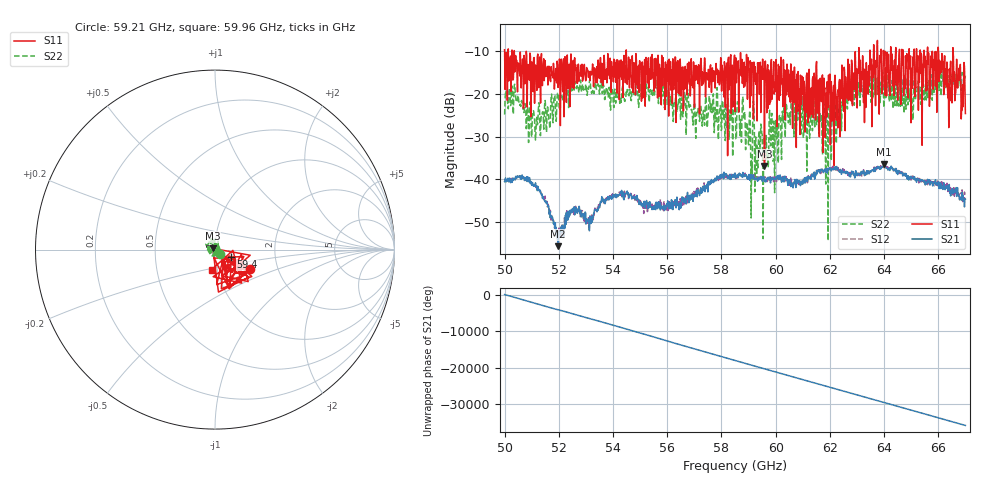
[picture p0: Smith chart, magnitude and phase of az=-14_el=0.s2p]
!Created with skrf (http://scikit-rf.org).
# GHz S RI R 50.0
!freq ReS11 ImS11 ReS21 ImS21 ReS12 ImS12 ReS22 ImS22
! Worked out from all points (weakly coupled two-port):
!   1001 points, 50 GHz to 67 GHz, reference 50 ohm
!   highest |S21| = -36.50 dB at 63.99 GHz (marker M1); lowest = -55.7 dB at 51.97 GHz (marker M2)
!   lowest |S11| = -36.9 dB at 59.59 GHz (marker M3), VSWR 1.03, Z = 48.7 + j0.625 ohm
!   |S11| at or under -10 dB: 50.8 GHz to 54.49 GHz (3.687 GHz wide, 7 % of centre); 54.49 GHz to 63.07 GHz (8.581 GHz wide, 14.6 % of centre); 66.01 GHz to 66.54 GHz (530.9 MHz wide, 0.801 % of centre) (the widest 3 of 27)
!   |S22| runs from -54.5 to -13.8 dB; largest |S21 - S12| = 0.0025
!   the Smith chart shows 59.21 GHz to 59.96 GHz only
!   S11 on the Smith chart (normalised r, x): 59.21 GHz: 1.44, -0.32; 59.4 GHz: 1.19, -0.10; 59.96 GHz: 0.94, -0.21
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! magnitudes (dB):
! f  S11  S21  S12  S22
! 50 GHz  -9.6  -40.6  -40.3  -24.8
! 50.42 GHz  -13.3  -39.5  -39.9  -21.6
! 51.22 GHz  -10.6  -41.7  -42.5  -26.9
! 51.97 GHz  -18.5  -55.7  -55.2  -19.7
! 52.84 GHz  -13.8  -48.9  -47.8  -19.5
! 54.28 GHz  -15.9  -43.0  -43.8  -20.9
! 55.68 GHz  -13.5  -45.3  -46.0  -22.3
! 58.5 GHz  -24.1  -38.6  -39.5  -23.8
! 59.21 GHz  -13.1  -39.8  -39.5  -28.6
! 59.4 GHz  -20.1  -40.1  -39.5  -28.6
! 59.59 GHz  -36.9  -40.0  -39.8  -29.8
! 59.84 GHz  -11.9  -40.2  -39.9  -25.4
! 59.96 GHz  -19.0  -40.0  -39.4  -43.2
! 60.64 GHz  -14.7  -42.0  -41.0  -22.3
! 61.34 GHz  -24.8  -38.8  -39.3  -25.8
! 61.88 GHz  -25.4  -38.2  -37.8  -23.0
! 62.55 GHz  -14.9  -38.2  -38.2  -19.2
! 63.12 GHz  -12.1  -38.6  -38.5  -20.2
! 63.99 GHz  -12.4  -36.5  -36.9  -23.2
! 64.18 GHz  -17.5  -37.4  -37.5  -18.6
! 66.08 GHz  -14.9  -41.0  -41.6  -15.7
! 67 GHz  -24.6  -44.7  -44.3  -15.7
